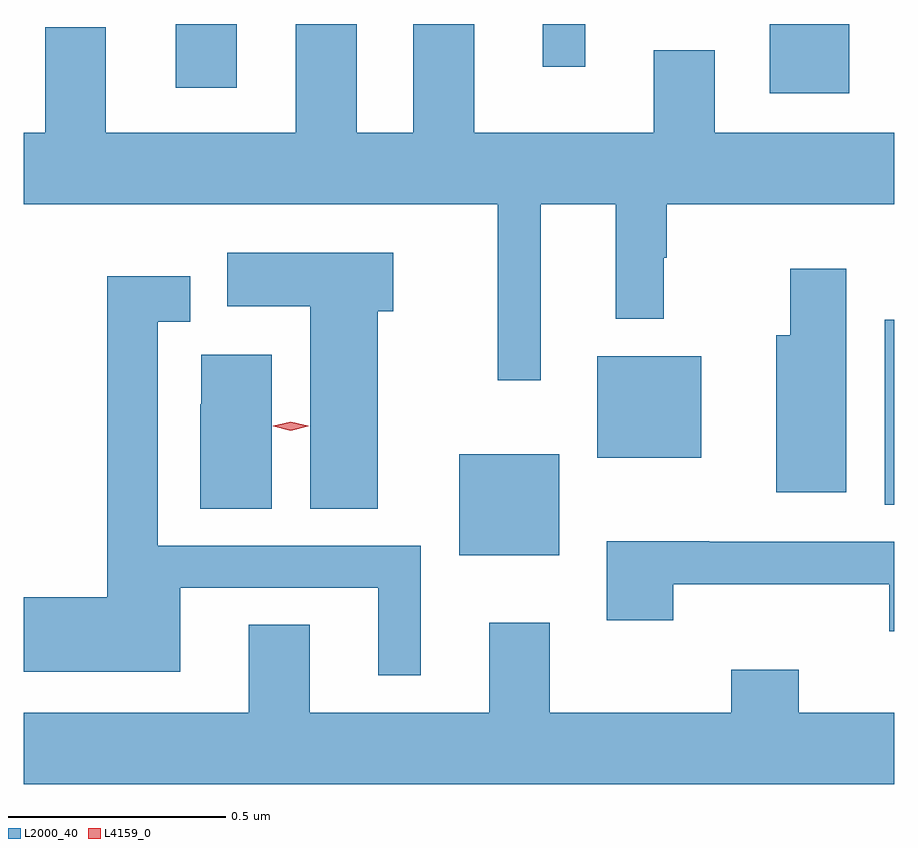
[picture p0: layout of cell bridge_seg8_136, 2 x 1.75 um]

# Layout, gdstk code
import gdstk
lib = gdstk.Library(unit=1e-6, precision=1e-09)
def R(c, l, rs):  # rectangles x0, y0, x1, y1
    for r in rs: c.add(gdstk.rectangle(r[:2], r[2:], *l))
def P(c, l, *ps):  # polygons
    for p in ps: c.add(gdstk.Polygon(p, *l))
L2000_40 = (2000, 40)
L4159_0 = (4159, 0)

bridge_seg8_136 = lib.new_cell('bridge_seg8_136')
R(bridge_seg8_136, L2000_40, [(454.082,1155.653,454.312,1155.886), (455.06,1155.769,455.082,1156.195), (454.4,1155.878,454.639,1156.111), (454.796,1156.715,454.978,1156.874), (453.431,1156.728,453.571,1156.874), (454.274,1156.776,454.372,1156.874)])
P(bridge_seg8_136, L2000_40, [(454.27,1156.46),(454.442,1156.46),(454.442,1156.197),(454.552,1156.197),(454.552,1156.337),(454.559,1156.337),(454.559,1156.46),(455.082,1156.46),(455.082,1156.624),(454.669,1156.624),(454.669,1156.814),(454.529,1156.814),(454.529,1156.624),(454.117,1156.624),(454.117,1156.874),(453.977,1156.874),(453.977,1156.624),(453.847,1156.624),(453.847,1156.874),(453.707,1156.874),(453.707,1156.624),(453.271,1156.624),(453.271,1156.867),(453.131,1156.867),(453.131,1156.624),(453.082,1156.624),(453.082,1156.46),(454.171,1156.46),(454.171,1156.056),(454.27,1156.056)],
  [(453.895,1156.214),(453.931,1156.214),(453.931,1156.348),(453.55,1156.348),(453.55,1156.226),(453.74,1156.226),(453.74,1155.76),(453.895,1155.76)],
  [(454.972,1156.312),(454.843,1156.312),(454.843,1156.159),(454.811,1156.159),(454.811,1155.798),(454.972,1155.798)],
  [(453.994,1155.675),(453.39,1155.675),(453.39,1156.19),(453.465,1156.19),(453.465,1156.294),(453.274,1156.294),(453.274,1155.557),(453.082,1155.557),(453.082,1155.386),(453.442,1155.386),(453.442,1155.579),(453.896,1155.579),(453.896,1155.378),(453.994,1155.378)],
  [(453.652,1156.114),(453.49,1156.114),(453.49,1156.001),(453.488,1156.001),(453.488,1155.76),(453.652,1155.76)],
  [(455.082,1155.684),(454.657,1155.684),(454.657,1155.686),(454.421,1155.686),(454.421,1155.504),(454.574,1155.504),(454.574,1155.587),(455.07,1155.587),(455.07,1155.479),(455.082,1155.479)],
  [(455.082,1155.292),(454.863,1155.292),(454.863,1155.391),(454.708,1155.391),(454.708,1155.292),(454.291,1155.292),(454.291,1155.499),(454.151,1155.499),(454.151,1155.292),(453.739,1155.292),(453.739,1155.494),(453.599,1155.494),(453.599,1155.292),(453.082,1155.292),(453.082,1155.128),(455.082,1155.128)])
P(bridge_seg8_136, L4159_0, [(453.696,1155.94),(453.655,1155.95),(453.655,1155.95),(453.655,1155.951),(453.696,1155.96),(453.736,1155.951),(453.736,1155.95),(453.736,1155.95)])

lib.write_gds('bridge_seg8_136.gds')
